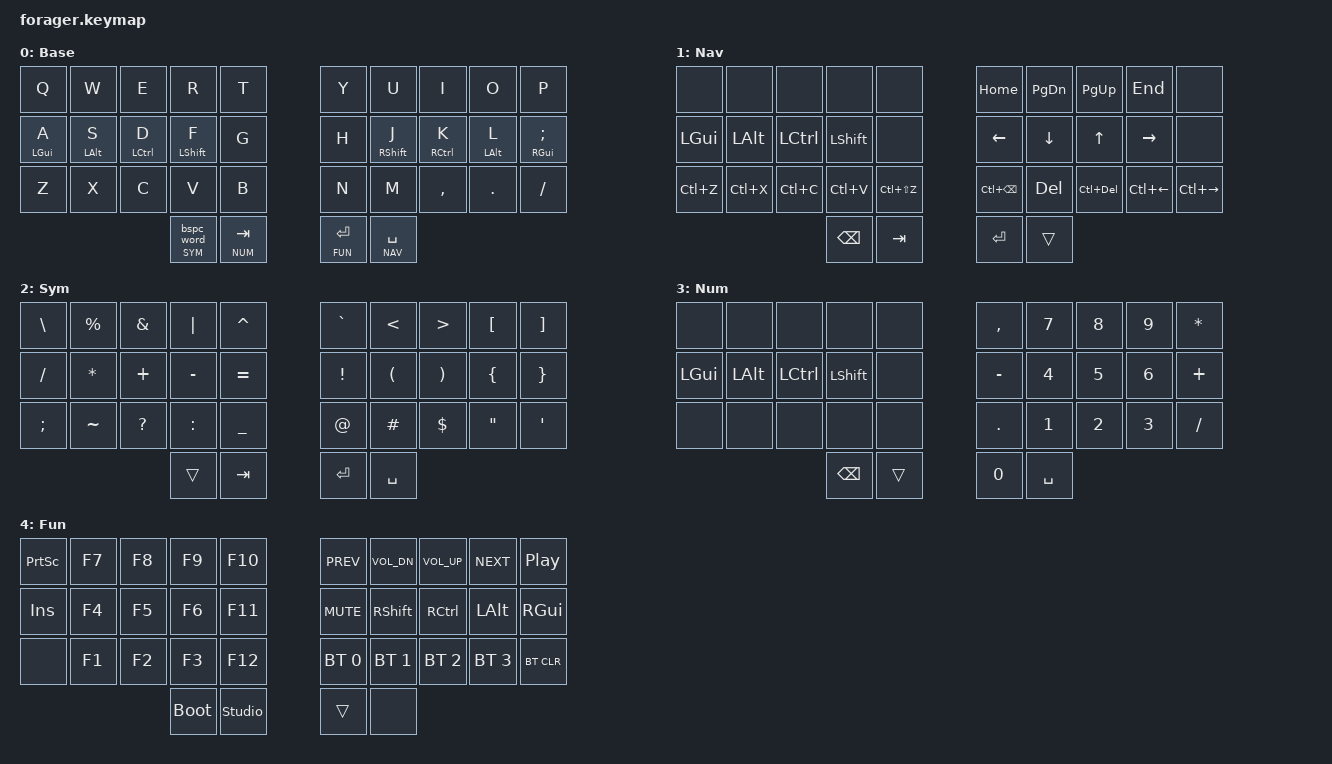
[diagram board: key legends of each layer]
/*
 * Forager 34-key — Dawid's layout
 *
 * Thumbs (tap / hold), left to right:
 *   30 Bksp / SYM   (left, under T, resting)   -> brackets on the right hand, operators on the left
 *   31 Tab  / NUM   (left, toward middle)      -> numpad on the right hand
 *   32 Ent  / FUN   (right, toward middle)     -> F-keys on the left hand (same shape as the numpad)
 *   33 Spc  / NAV   (right, under Y, resting)  -> Vim arrows on the right hand (same-hand, by choice)
 *
 * Space/NAV is tap-preferred with a prior-idle guard, so fast typing never
 * turns a Space into a silent cursor jump.
 *
 * Key positions:
 *    0  1  2  3  4     5  6  7  8  9
 *   10 11 12 13 14    15 16 17 18 19
 *   20 21 22 23 24    25 26 27 28 29
 *            30 31    32 33
 */

#include <behaviors.dtsi>
#include <dt-bindings/zmk/keys.h>
#include <dt-bindings/zmk/bt.h>

#define BASE 0
#define NAV  1
#define SYM  2
#define NUM  3
#define FUN  4

#define KEYS_L 0 1 2 3 4 10 11 12 13 14 20 21 22 23 24
#define KEYS_R 5 6 7 8 9 15 16 17 18 19 25 26 27 28 29
#define THUMBS 30 31 32 33

/ {
    behaviors {
        /* Home-row mods, "timeless" style: only trigger with the opposite hand or a thumb */
        hml: home_row_mod_left {
            compatible = "zmk,behavior-hold-tap";
            #binding-cells = <2>;
            flavor = "balanced";
            tapping-term-ms = <280>;
            quick-tap-ms = <175>;
            require-prior-idle-ms = <150>;
            hold-trigger-key-positions = <KEYS_R THUMBS>;
            hold-trigger-on-release;
            bindings = <&kp>, <&kp>;
        };
        hmr: home_row_mod_right {
            compatible = "zmk,behavior-hold-tap";
            #binding-cells = <2>;
            flavor = "balanced";
            tapping-term-ms = <280>;
            quick-tap-ms = <175>;
            require-prior-idle-ms = <150>;
            hold-trigger-key-positions = <KEYS_L THUMBS>;
            hold-trigger-on-release;
            bindings = <&kp>, <&kp>;
        };

        /* Thumb layer-taps (Tab/NUM, Enter/FUN) */
        lt_th: layer_tap_thumb {
            compatible = "zmk,behavior-hold-tap";
            #binding-cells = <2>;
            flavor = "balanced";
            tapping-term-ms = <200>;
            quick-tap-ms = <175>;
            bindings = <&mo>, <&kp>;
        };
        /* Space/NAV: tap-preferred + prior-idle, so a Space while typing is always a Space */
        lt_spc: layer_tap_space {
            compatible = "zmk,behavior-hold-tap";
            #binding-cells = <2>;
            flavor = "tap-preferred";
            tapping-term-ms = <200>;
            quick-tap-ms = <175>;
            require-prior-idle-ms = <150>;
            bindings = <&mo>, <&kp>;
        };

        /* Backspace; Shift+Backspace = delete word */
        bspc_word: backspace_word {
            compatible = "zmk,behavior-mod-morph";
            #binding-cells = <0>;
            bindings = <&kp BSPC>, <&kp LC(BSPC)>;
            mods = <(MOD_LSFT|MOD_RSFT)>;
        };
        /* Bksp/SYM: balanced, so symbols come fast mid-word */
        bs_sym: bspc_sym {
            compatible = "zmk,behavior-hold-tap";
            #binding-cells = <2>;
            flavor = "balanced";
            tapping-term-ms = <200>;
            quick-tap-ms = <175>;
            bindings = <&mo>, <&bspc_word>;
        };
    };

    macros {
        m_arrow: m_arrow {
            compatible = "zmk,behavior-macro";
            #binding-cells = <0>;
            bindings = <&kp EQUAL &kp GT>;
        };
        m_nullc: m_nullc {
            compatible = "zmk,behavior-macro";
            #binding-cells = <0>;
            bindings = <&kp QMARK &kp QMARK>;
        };
    };

    /* All combos fire on the base layer only, so layer keys (e.g. Shift + Down on NAV) can't trigger them */
    combos {
        compatible = "zmk,combos";
        combo_esc_we {
            timeout-ms = <40>;
            key-positions = <1 2>;          /* w + e */
            bindings = <&kp ESC>;
            layers = <BASE>;
        };
        combo_esc_fj {
            timeout-ms = <50>;
            key-positions = <13 16>;        /* f + j, as on the Glove80 */
            bindings = <&kp ESC>;
            layers = <BASE>;
        };
        combo_altgr {
            timeout-ms = <50>;
            key-positions = <30 31>;        /* both left thumbs (Bksp + Tab): one-shot AltGr -> ą ę ś ć ż ź ł ó ń */
            bindings = <&sk RALT>;
            layers = <BASE>;
        };
        combo_launcher {
            timeout-ms = <50>;
            require-prior-idle-ms = <150>;
            key-positions = <31 32>;        /* both middle-side thumbs (Tab + Enter): Ctrl+Space, as on the Glove80 */
            bindings = <&kp LC(SPACE)>;
            layers = <BASE>;
        };
        combo_sqt {
            timeout-ms = <40>;
            require-prior-idle-ms = <150>;
            key-positions = <26 27>;        /* m + , */
            bindings = <&kp SQT>;
            layers = <BASE>;
        };
        combo_caps_word {
            timeout-ms = <40>;
            require-prior-idle-ms = <150>;
            key-positions = <23 26>;        /* v + m */
            bindings = <&caps_word>;
            layers = <BASE>;
        };
        combo_arrow {
            timeout-ms = <40>;
            require-prior-idle-ms = <150>;
            key-positions = <27 28>;        /* , + .  ->  => */
            bindings = <&m_arrow>;
            layers = <BASE>;
        };
        combo_nullc {
            timeout-ms = <40>;
            require-prior-idle-ms = <150>;
            key-positions = <28 29>;        /* . + /  ->  ?? */
            bindings = <&m_nullc>;
            layers = <BASE>;
        };
    };

    keymap {
        compatible = "zmk,keymap";

        base {
            display-name = "Base";
            bindings = <
            &kp Q          &kp W          &kp E          &kp R          &kp T             &kp Y      &kp U          &kp I          &kp O          &kp P
            &hml LGUI A    &hml LALT S    &hml LCTRL D   &hml LSHFT F   &kp G             &kp H      &hmr RSHFT J   &hmr RCTRL K   &hmr LALT L    &hmr RGUI SEMI
            &kp Z          &kp X          &kp C          &kp V          &kp B             &kp N      &kp M          &kp COMMA      &kp DOT        &kp FSLH
                                          &bs_sym SYM 0  &lt_th NUM TAB                   &lt_th FUN RET  &lt_spc NAV SPACE
            >;
        };

        nav {
            display-name = "Nav";
            bindings = <
            &none          &none          &none          &none          &none             &kp HOME      &kp PG_DN  &kp PG_UP      &kp END        &none
            &kp LGUI       &kp LALT       &kp LCTRL      &kp LSHFT      &none             &kp LEFT      &kp DOWN   &kp UP         &kp RIGHT      &none
            &kp LC(Z)      &kp LC(X)      &kp LC(C)      &kp LC(V)      &kp LC(LS(Z))     &kp LC(BSPC)  &kp DEL    &kp LC(DEL)    &kp LC(LEFT)   &kp LC(RIGHT)
                                          &kp BSPC       &kp TAB                          &kp RET       &trans
            >;
        };

        sym {
            display-name = "Sym";
            bindings = <
            &kp BSLH       &kp PRCNT      &kp AMPS       &kp PIPE       &kp CARET         &kp GRAVE  &kp LT         &kp GT         &kp LBKT       &kp RBKT
            &kp FSLH       &kp STAR       &kp PLUS       &kp MINUS      &kp EQUAL         &kp EXCL   &kp LPAR       &kp RPAR       &kp LBRC       &kp RBRC
            &kp SEMI       &kp TILDE      &kp QMARK      &kp COLON      &kp UNDER         &kp AT     &kp HASH       &kp DLLR       &kp DQT        &kp SQT
                                          &trans         &kp TAB                          &kp RET    &kp SPACE
            >;
        };

        num {
            display-name = "Num";
            bindings = <
            &none          &none          &none          &none          &none             &kp COMMA  &kp N7         &kp N8         &kp N9         &kp STAR
            &kp LGUI       &kp LALT       &kp LCTRL      &kp LSHFT      &none             &kp MINUS  &kp N4         &kp N5         &kp N6         &kp PLUS
            &none          &none          &none          &none          &none             &kp DOT    &kp N1         &kp N2         &kp N3         &kp FSLH
                                          &kp BSPC       &trans                           &kp N0     &kp SPACE
            >;
        };

        fun {
            display-name = "Fun";
            bindings = <
            &kp PSCRN      &kp F7         &kp F8         &kp F9         &kp F10           &kp C_PREV    &kp C_VOL_DN   &kp C_VOL_UP   &kp C_NEXT     &kp C_PP
            &kp INS        &kp F4         &kp F5         &kp F6         &kp F11           &kp C_MUTE    &kp RSHFT      &kp RCTRL      &kp LALT       &kp RGUI
            &none          &kp F1         &kp F2         &kp F3         &kp F12           &bt BT_SEL 0  &bt BT_SEL 1   &bt BT_SEL 2   &bt BT_SEL 3   &bt BT_CLR
                                          &bootloader    &studio_unlock                   &trans        &none
            >;
        };
    };
};
